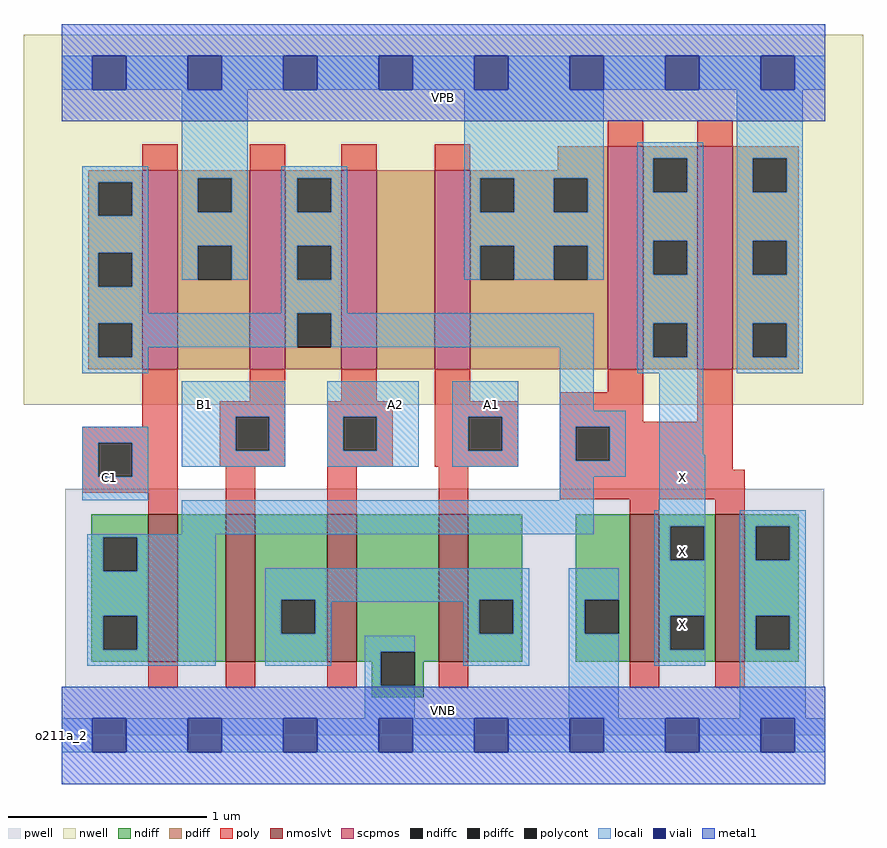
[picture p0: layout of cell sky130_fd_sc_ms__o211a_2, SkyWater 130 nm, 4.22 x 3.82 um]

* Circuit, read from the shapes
.subckt sky130_fd_sc_ms__o211a_2 A1 A2 B1 C1 VGND VNB VPB VPWR X
XM1 n1 C1 n2 VNB sky130_fd_pr__nfet_01v8_lvt w=0.74 l=0.15
XM2 n3 B1 n1 VNB sky130_fd_pr__nfet_01v8_lvt w=0.74 l=0.15
XM3 VGND A2 n3 VNB sky130_fd_pr__nfet_01v8_lvt w=0.74 l=0.15
XM4 n3 A1 VGND VNB sky130_fd_pr__nfet_01v8_lvt w=0.74 l=0.15
XM5 X n2 VGND VNB sky130_fd_pr__nfet_01v8_lvt w=0.74 l=0.15 m=2
XM6 VPWR C1 n2 VPB sky130_fd_pr__pfet_01v8 w=1 l=0.18
XM7 n2 B1 VPWR VPB sky130_fd_pr__pfet_01v8 w=1 l=0.18
XM8 n4 A2 n2 VPB sky130_fd_pr__pfet_01v8 w=1 l=0.18
XM9 VPWR A1 n4 VPB sky130_fd_pr__pfet_01v8 w=1 l=0.18
XM10 X n2 VPWR VPB sky130_fd_pr__pfet_01v8 w=1.12 l=0.18 m=2
.ends

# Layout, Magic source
magic
tech sky130A
magscale 1 2
<< nwell >>
rect -38 332 806 704
<< pwell >>
rect 4 49 767 248
rect 0 0 768 49
<< scpmos >>
rect 81 368 117 568
rect 189 368 225 568
rect 281 368 317 568
rect 375 368 411 568
rect 549 368 585 592
rect 639 368 675 592
<< nmoslvt >>
rect 87 74 117 222
rect 165 74 195 222
rect 267 74 297 222
rect 379 74 409 222
rect 571 74 601 222
rect 657 74 687 222
<< ndiff >>
rect 30 199 87 222
rect 30 165 42 199
rect 76 165 87 199
rect 30 120 87 165
rect 30 86 42 120
rect 76 86 87 120
rect 30 74 87 86
rect 117 74 165 222
rect 195 136 267 222
rect 195 102 221 136
rect 255 102 267 136
rect 195 74 267 102
rect 297 84 379 222
rect 297 74 321 84
rect 312 50 321 74
rect 355 74 379 84
rect 409 136 463 222
rect 409 102 420 136
rect 454 102 463 136
rect 409 74 463 102
rect 517 136 571 222
rect 517 102 526 136
rect 560 102 571 136
rect 517 74 571 102
rect 601 210 657 222
rect 601 176 612 210
rect 646 176 657 210
rect 601 120 657 176
rect 601 86 612 120
rect 646 86 657 120
rect 601 74 657 86
rect 687 210 741 222
rect 687 176 698 210
rect 732 176 741 210
rect 687 120 741 176
rect 687 86 698 120
rect 732 86 741 120
rect 687 74 741 86
rect 355 50 364 74
rect 312 38 364 50
<< pdiff >>
rect 499 568 549 592
rect 27 556 81 568
rect 27 522 37 556
rect 71 522 81 556
rect 27 485 81 522
rect 27 451 37 485
rect 71 451 81 485
rect 27 414 81 451
rect 27 380 37 414
rect 71 380 81 414
rect 27 368 81 380
rect 117 560 189 568
rect 117 526 137 560
rect 171 526 189 560
rect 117 492 189 526
rect 117 458 137 492
rect 171 458 189 492
rect 117 368 189 458
rect 225 560 281 568
rect 225 526 237 560
rect 271 526 281 560
rect 225 492 281 526
rect 225 458 237 492
rect 271 458 281 492
rect 225 424 281 458
rect 225 390 237 424
rect 271 390 281 424
rect 225 368 281 390
rect 317 368 375 568
rect 411 560 549 568
rect 411 526 421 560
rect 455 526 495 560
rect 529 526 549 560
rect 411 492 549 526
rect 411 458 421 492
rect 455 458 495 492
rect 529 458 549 492
rect 411 368 549 458
rect 585 580 639 592
rect 585 546 595 580
rect 629 546 639 580
rect 585 497 639 546
rect 585 463 595 497
rect 629 463 639 497
rect 585 414 639 463
rect 585 380 595 414
rect 629 380 639 414
rect 585 368 639 380
rect 675 580 741 592
rect 675 546 695 580
rect 729 546 741 580
rect 675 497 741 546
rect 675 463 695 497
rect 729 463 741 497
rect 675 414 741 463
rect 675 380 695 414
rect 729 380 741 414
rect 675 368 741 380
<< ndiffc >>
rect 42 165 76 199
rect 42 86 76 120
rect 221 102 255 136
rect 321 50 355 84
rect 420 102 454 136
rect 526 102 560 136
rect 612 176 646 210
rect 612 86 646 120
rect 698 176 732 210
rect 698 86 732 120
<< pdiffc >>
rect 37 522 71 556
rect 37 451 71 485
rect 37 380 71 414
rect 137 526 171 560
rect 137 458 171 492
rect 237 526 271 560
rect 237 458 271 492
rect 237 390 271 424
rect 421 526 455 560
rect 495 526 529 560
rect 421 458 455 492
rect 495 458 529 492
rect 595 546 629 580
rect 595 463 629 497
rect 595 380 629 414
rect 695 546 729 580
rect 695 463 729 497
rect 695 380 729 414
<< poly >>
rect 81 568 117 594
rect 189 568 225 594
rect 281 568 317 594
rect 375 568 411 594
rect 549 592 585 618
rect 639 592 675 618
rect 81 310 117 368
rect 189 336 225 368
rect 281 336 317 368
rect 375 336 411 368
rect 549 345 585 368
rect 21 294 117 310
rect 21 260 37 294
rect 71 260 117 294
rect 159 320 225 336
rect 159 286 175 320
rect 209 286 225 320
rect 159 270 225 286
rect 267 320 333 336
rect 267 286 283 320
rect 317 286 333 320
rect 267 270 333 286
rect 375 320 459 336
rect 375 286 409 320
rect 443 286 459 320
rect 375 270 459 286
rect 501 315 585 345
rect 639 315 675 368
rect 501 310 675 315
rect 501 276 517 310
rect 551 276 675 310
rect 21 244 117 260
rect 87 222 117 244
rect 165 222 195 270
rect 267 222 297 270
rect 379 222 409 270
rect 501 267 675 276
rect 501 237 687 267
rect 571 222 601 237
rect 657 222 687 237
rect 87 48 117 74
rect 165 48 195 74
rect 267 48 297 74
rect 379 48 409 74
rect 571 48 601 74
rect 657 48 687 74
<< polycont >>
rect 37 260 71 294
rect 175 286 209 320
rect 283 286 317 320
rect 409 286 443 320
rect 517 276 551 310
<< locali >>
rect 0 649 31 683
rect 65 649 127 683
rect 161 649 223 683
rect 257 649 319 683
rect 353 649 415 683
rect 449 649 511 683
rect 545 649 607 683
rect 641 649 703 683
rect 737 649 768 683
rect 21 556 87 572
rect 21 522 37 556
rect 71 522 87 556
rect 21 485 87 522
rect 21 451 37 485
rect 71 451 87 485
rect 121 560 187 649
rect 121 526 137 560
rect 171 526 187 560
rect 121 492 187 526
rect 121 458 137 492
rect 171 458 187 492
rect 221 560 287 572
rect 221 526 237 560
rect 271 526 287 560
rect 221 492 287 526
rect 221 458 237 492
rect 271 458 287 492
rect 405 560 545 649
rect 405 526 421 560
rect 455 526 495 560
rect 529 526 545 560
rect 405 492 545 526
rect 405 458 421 492
rect 455 458 495 492
rect 529 458 545 492
rect 579 580 645 596
rect 579 546 595 580
rect 629 546 645 580
rect 579 497 645 546
rect 579 463 595 497
rect 629 463 645 497
rect 21 424 87 451
rect 221 424 287 458
rect 21 414 237 424
rect 21 380 37 414
rect 71 390 237 414
rect 271 390 535 424
rect 71 380 87 390
rect 21 364 87 380
rect 121 320 225 356
rect 21 294 87 310
rect 21 260 37 294
rect 71 260 87 294
rect 121 286 175 320
rect 209 286 225 320
rect 121 270 225 286
rect 267 320 359 356
rect 267 286 283 320
rect 317 286 359 320
rect 267 270 359 286
rect 393 320 459 356
rect 393 286 409 320
rect 443 286 459 320
rect 393 270 459 286
rect 501 326 535 390
rect 579 414 645 463
rect 579 380 595 414
rect 629 380 645 414
rect 579 364 645 380
rect 679 580 745 649
rect 679 546 695 580
rect 729 546 745 580
rect 679 497 745 546
rect 679 463 695 497
rect 729 463 745 497
rect 679 414 745 463
rect 679 380 695 414
rect 729 380 745 414
rect 679 364 745 380
rect 501 310 567 326
rect 501 276 517 310
rect 551 276 567 310
rect 21 236 87 260
rect 501 260 567 276
rect 601 282 645 364
rect 501 236 535 260
rect 121 202 535 236
rect 601 226 647 282
rect 596 210 647 226
rect 26 199 155 202
rect 26 165 42 199
rect 76 165 155 199
rect 596 176 612 210
rect 646 176 647 210
rect 26 120 155 165
rect 26 86 42 120
rect 76 86 155 120
rect 26 70 155 86
rect 205 136 470 168
rect 205 102 221 136
rect 255 134 420 136
rect 255 102 271 134
rect 205 70 271 102
rect 404 102 420 134
rect 454 102 470 136
rect 305 84 355 100
rect 305 50 321 84
rect 404 70 470 102
rect 510 136 560 168
rect 510 102 526 136
rect 305 17 355 50
rect 510 17 560 102
rect 596 120 647 176
rect 596 86 612 120
rect 646 86 647 120
rect 596 70 647 86
rect 682 210 748 226
rect 682 176 698 210
rect 732 176 748 210
rect 682 120 748 176
rect 682 86 698 120
rect 732 86 748 120
rect 682 17 748 86
rect 0 -17 31 17
rect 65 -17 127 17
rect 161 -17 223 17
rect 257 -17 319 17
rect 353 -17 415 17
rect 449 -17 511 17
rect 545 -17 607 17
rect 641 -17 703 17
rect 737 -17 768 17
<< viali >>
rect 31 649 65 683
rect 127 649 161 683
rect 223 649 257 683
rect 319 649 353 683
rect 415 649 449 683
rect 511 649 545 683
rect 607 649 641 683
rect 703 649 737 683
rect 31 -17 65 17
rect 127 -17 161 17
rect 223 -17 257 17
rect 319 -17 353 17
rect 415 -17 449 17
rect 511 -17 545 17
rect 607 -17 641 17
rect 703 -17 737 17
<< metal1 >>
rect 0 683 768 715
rect 0 649 31 683
rect 65 649 127 683
rect 161 649 223 683
rect 257 649 319 683
rect 353 649 415 683
rect 449 649 511 683
rect 545 649 607 683
rect 641 649 703 683
rect 737 649 768 683
rect 0 617 768 649
rect 0 17 768 49
rect 0 -17 31 17
rect 65 -17 127 17
rect 161 -17 223 17
rect 257 -17 319 17
rect 353 -17 415 17
rect 449 -17 511 17
rect 545 -17 607 17
rect 641 -17 703 17
rect 737 -17 768 17
rect 0 -49 768 -17
<< labels >>
flabel pwell s 0 0 768 49 0 FreeSans 200 0 0 0 VNB
port 6 nsew ground bidirectional
flabel nwell s 0 617 768 666 0 FreeSans 200 0 0 0 VPB
port 7 nsew power bidirectional
rlabel comment s 0 0 0 0 4 o211a_2
flabel metal1 s 0 617 768 666 0 FreeSans 340 0 0 0 VPWR
port 8 nsew power bidirectional
flabel metal1 s 0 0 768 49 0 FreeSans 340 0 0 0 VGND
port 5 nsew ground bidirectional
flabel locali s 319 316 353 350 0 FreeSans 340 0 0 0 A2
port 2 nsew signal input
flabel locali s 31 242 65 276 0 FreeSans 340 0 0 0 C1
port 4 nsew signal input
flabel locali s 415 316 449 350 0 FreeSans 340 0 0 0 A1
port 1 nsew signal input
flabel locali s 127 316 161 350 0 FreeSans 340 0 0 0 B1
port 3 nsew signal input
flabel locali s 607 94 641 128 0 FreeSans 340 0 0 0 X
port 9 nsew signal output
flabel locali s 607 168 641 202 0 FreeSans 340 0 0 0 X
port 9 nsew signal output
flabel locali s 607 242 641 276 0 FreeSans 340 0 0 0 X
port 9 nsew signal output
<< properties >>
string LEFsite unit
string LEFclass CORE
string FIXED_BBOX 0 0 768 666
string GDS_FILE $PDKPATH/libs.ref/sky130_fd_sc_ms/gds/sky130_fd_sc_ms.gds
string LEFsymmetry X Y
string GDS_END 1600670
string GDS_START 1593582
<< end >>
